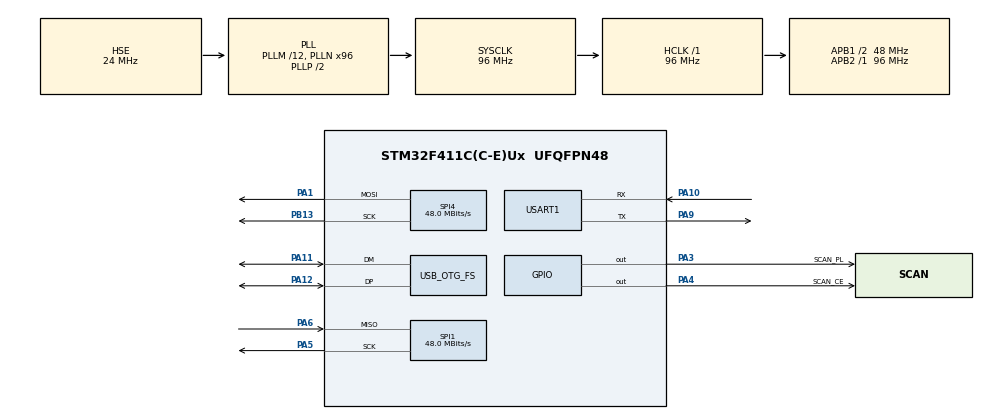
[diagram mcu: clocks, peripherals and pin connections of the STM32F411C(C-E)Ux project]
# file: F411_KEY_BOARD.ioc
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Mcu.Family=STM32F4
Mcu.Name=STM32F411C(C-E)Ux
Mcu.Package=UFQFPN48
NVIC.OTG_FS_IRQn=true\:0\:0\:false\:false\:true\:false\:true\:true
NVIC.PriorityGroup=NVIC_PRIORITYGROUP_2
NVIC.SPI1_IRQn=true\:0\:0\:true\:false\:true\:true\:true\:true
NVIC.TIM3_IRQn=true\:2\:0\:true\:false\:true\:true\:true\:true
NVIC.USART1_IRQn=true\:1\:0\:true\:false\:true\:true\:true\:true
PA1.Mode=TX_Only_Simplex_Unidirect_Master
PA1.Signal=SPI4_MOSI
PA10.Mode=Asynchronous
PA10.Signal=USART1_RX
PA11.Mode=Device_Only
PA11.Signal=USB_OTG_FS_DM
PA12.Mode=Device_Only
PA12.Signal=USB_OTG_FS_DP
PA13.Mode=Serial_Wire
PA13.Signal=SYS_JTMS-SWDIO
PA14.Mode=Serial_Wire
PA14.Signal=SYS_JTCK-SWCLK
PA3.GPIO_Label=SCAN_PL
PA3.GPIO_Speed=GPIO_SPEED_FREQ_VERY_HIGH
PA3.Signal=GPIO_Output
PA4.GPIO_Label=SCAN_CE
PA4.GPIO_Speed=GPIO_SPEED_FREQ_VERY_HIGH
PA4.Signal=GPIO_Output
PA5.Mode=RX_Only_Simplex_Unidirect_Master
PA5.Signal=SPI1_SCK
PA6.Mode=RX_Only_Simplex_Unidirect_Master
PA6.Signal=SPI1_MISO
PA9.Mode=Asynchronous
PA9.Signal=USART1_TX
PB13.Mode=TX_Only_Simplex_Unidirect_Master
PB13.Signal=SPI4_SCK
PH0\ -\ OSC_IN.Mode=HSE-External-Oscillator
PH0\ -\ OSC_IN.Signal=RCC_OSC_IN
PH1\ -\ OSC_OUT.Mode=HSE-External-Oscillator
PH1\ -\ OSC_OUT.Signal=RCC_OSC_OUT
ProjectManager.HeapSize=0x200
ProjectManager.StackSize=0x400
ProjectManager.TargetToolchain=MDK-ARM V5.32
RCC.48MHZClocksFreq_Value=48000000
RCC.AHBFreq_Value=96000000
RCC.APB1CLKDivider=RCC_HCLK_DIV2
RCC.APB1Freq_Value=48000000
RCC.APB1TimFreq_Value=96000000
RCC.APB2Freq_Value=96000000
RCC.APB2TimFreq_Value=96000000
RCC.CortexFreq_Value=96000000
RCC.HCLKFreq_Value=96000000
RCC.HSE_VALUE=24000000
RCC.HSI_VALUE=16000000
RCC.LSE_VALUE=32768
RCC.PLLM=12
RCC.PLLN=96
RCC.SYSCLKFreq_VALUE=96000000
RCC.SYSCLKSource=RCC_SYSCLKSOURCE_PLLCLK
RCC.VCOOutputFreq_Value=192000000
SPI1.CalculateBaudRate=48.0 MBits/s
SPI1.Direction=SPI_DIRECTION_2LINES_RXONLY
SPI1.Mode=SPI_MODE_MASTER
SPI1.VirtualType=VM_MASTER
SPI4.CalculateBaudRate=48.0 MBits/s
SPI4.Direction=SPI_DIRECTION_2LINES
SPI4.Mode=SPI_MODE_MASTER
SPI4.VirtualType=VM_MASTER
TIM3.AutoReloadPreload=TIM_AUTORELOAD_PRELOAD_ENABLE
TIM3.Period=999
TIM3.Prescaler=95
USART1.VirtualMode=VM_ASYNC
USB_DEVICE.CLASS_NAME_FS=CUSTOM_HID
USB_DEVICE.VirtualMode=CustomHid
USB_DEVICE.VirtualModeFS=Custom_Hid_FS
USB_OTG_FS.VirtualMode=Device_Only
VP_TIM3_VS_ClockSourceINT.Mode=Internal
VP_USB_DEVICE_VS_USB_DEVICE_CUSTOM_HID_FS.Mode=CUSTOM_HID_FS
board=custom

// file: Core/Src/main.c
/* USER CODE BEGIN Header */
/**
  ******************************************************************************
  * @file           : main.c
  * @brief          : Main program body
  ******************************************************************************
  * @attention
  *
  * Copyright (c) 2023 STMicroelectronics.
  * All rights reserved.
  *
  * This software is licensed under terms that can be found in the LICENSE file
  * in the root directory of this software component.
  * If no LICENSE file comes with this software, it is provided AS-IS.
  *
  ******************************************************************************
  */
/* USER CODE END Header */
#include "main.h"
#include "spi.h"
#include "tim.h"
#include "usart.h"
#include "usb_device.h"
#include "gpio.h"

/* USER CODE BEGIN Includes */
#include "stdio.h"
#include "keyboard.h"

/* USER CODE END Includes */

/* USER CODE BEGIN PM */
uint8_t key_data[20];
/* USER CODE END PM */

/* USER CODE BEGIN PV */
void Start_Keyvalue_Sync(void)
{
  HAL_GPIO_WritePin(SCAN_PL_GPIO_Port, SCAN_PL_Pin, GPIO_PIN_RESET);
  HAL_GPIO_WritePin(SCAN_PL_GPIO_Port, SCAN_PL_Pin, GPIO_PIN_SET);
}
/* USER CODE END PV */

void SystemClock_Config(void);

int main(void)
{

  /* MCU Configuration--------------------------------------------------------*/

  /* Reset of all peripherals, Initializes the Flash interface and the Systick. */
  HAL_Init();

  /* Configure the system clock */
  SystemClock_Config();

  /* Initialize all configured peripherals */
  MX_GPIO_Init();
  MX_SPI1_Init();
  MX_SPI4_Init();
  MX_TIM3_Init();
  MX_USART1_UART_Init();
  MX_USB_DEVICE_Init();

  /* Infinite loop */
  /* USER CODE BEGIN WHILE */
  keyBoard_t *keyBoard = malloc(sizeof(keyBoard_t));
  if(keyBoard != NULL)
  {
    memset(keyBoard,0,sizeof(keyBoard_t));
    keyInit(keyBoard);
	  printf("keyInit suc\r\n");
    keyBoard->printKeyRawData(keyBoard);
  }
  else
  {
	  printf("clreate fail\r\n");
  }
  while (1)
  {
    /* USER CODE END WHILE */

    /* USER CODE BEGIN 3 */
	printf("TL NB");
    Start_Keyvalue_Sync();
    HAL_GPIO_WritePin(SCAN_CE_GPIO_Port, SCAN_CE_Pin, GPIO_PIN_RESET);
	HAL_Delay(1);
    HAL_SPI_Receive(&hspi1, key_data, 3, 0x2f);
    HAL_GPIO_WritePin(SCAN_CE_GPIO_Port, SCAN_CE_Pin, GPIO_PIN_SET);
    printf("key data : %02X %02X %02X\r\n", key_data[0], key_data[1], key_data[2]);
    if(keyBoard->test)
    {
      keyBoard->test(keyBoard);
    }
	HAL_Delay(1000);
  }
  /* USER CODE END 3 */
}

void SystemClock_Config(void)
{
  RCC_OscInitTypeDef RCC_OscInitStruct = {0};
  RCC_ClkInitTypeDef RCC_ClkInitStruct = {0};

  /** Configure the main internal regulator output voltage
  */
  __HAL_RCC_PWR_CLK_ENABLE();
  __HAL_PWR_VOLTAGESCALING_CONFIG(PWR_REGULATOR_VOLTAGE_SCALE1);

  /** Initializes the RCC Oscillators according to the specified parameters
  * in the RCC_OscInitTypeDef structure.
  */
  RCC_OscInitStruct.OscillatorType = RCC_OSCILLATORTYPE_HSE;
  RCC_OscInitStruct.HSEState = RCC_HSE_ON;
  RCC_OscInitStruct.PLL.PLLState = RCC_PLL_ON;
  RCC_OscInitStruct.PLL.PLLSource = RCC_PLLSOURCE_HSE;
  RCC_OscInitStruct.PLL.PLLM = 12;
  RCC_OscInitStruct.PLL.PLLN = 96;
  RCC_OscInitStruct.PLL.PLLP = RCC_PLLP_DIV2;
  RCC_OscInitStruct.PLL.PLLQ = 4;
  if (HAL_RCC_OscConfig(&RCC_OscInitStruct) != HAL_OK)
  {
    Error_Handler();
  }

  /** Initializes the CPU, AHB and APB buses clocks
  */
  RCC_ClkInitStruct.ClockType = RCC_CLOCKTYPE_HCLK|RCC_CLOCKTYPE_SYSCLK
                              |RCC_CLOCKTYPE_PCLK1|RCC_CLOCKTYPE_PCLK2;
  RCC_ClkInitStruct.SYSCLKSource = RCC_SYSCLKSOURCE_PLLCLK;
  RCC_ClkInitStruct.AHBCLKDivider = RCC_SYSCLK_DIV1;
  RCC_ClkInitStruct.APB1CLKDivider = RCC_HCLK_DIV2;
  RCC_ClkInitStruct.APB2CLKDivider = RCC_HCLK_DIV1;

  if (HAL_RCC_ClockConfig(&RCC_ClkInitStruct, FLASH_LATENCY_3) != HAL_OK)
  {
    Error_Handler();
  }
}

void Error_Handler(void)
{
  __disable_irq();
  while (1)
  {
  }
}
